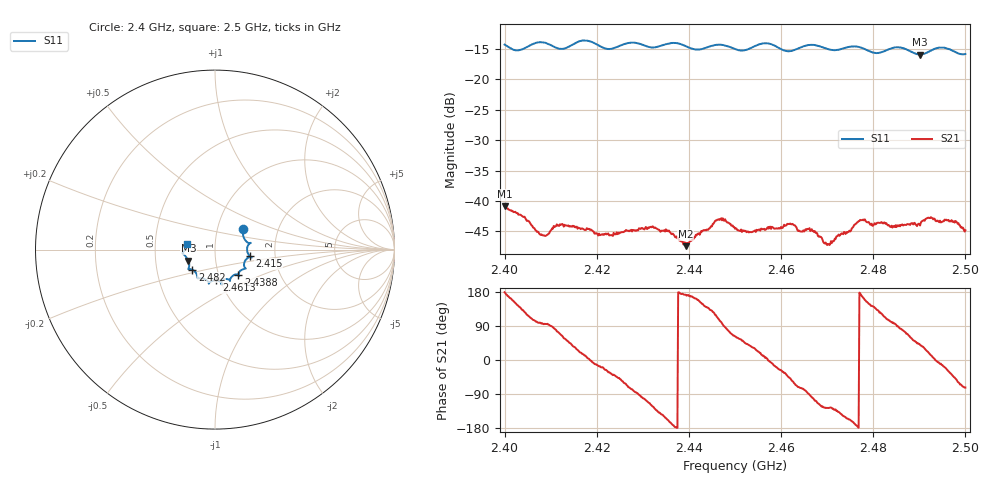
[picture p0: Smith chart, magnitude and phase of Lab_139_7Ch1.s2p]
# Hz S RI R 50
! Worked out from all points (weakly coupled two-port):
!   601 points, 2.4 GHz to 2.5 GHz, reference 50 ohm
!   highest |S21| = -40.91 dB at 2.4 GHz (marker M1); lowest = -47.5 dB at 2.4393 GHz (marker M2)
!   lowest |S11| = -15.9 dB at 2.4902 GHz (marker M3), VSWR 1.38, Z = 36.8 - j4.65 ohm
!   |S11| at or under -10 dB: start of sweep to end of sweep
!   S12 and S22 are empty: the file has one direction only
!   S11 on the Smith chart (normalised r, x): 2.4 GHz: 1.33, +0.31; 2.415 GHz: 1.47, -0.11; 2.4388 GHz: 1.24, -0.36; 2.4613 GHz: 0.96, -0.34; 2.482 GHz: 0.76, -0.17; 2.5 GHz: 0.72, +0.05
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2.4e9  0.1577 0.1125  -0.009 0.000193  0 0  0 0
2.402833e9  0.1608 0.0656  -0.00646 0.00461  0 0  0 0
2.408333e9  0.1988 0.0377  -0.000509 0.00517  0 0  0 0
2.411167e9  0.1818 0.0184  0.00114 0.0061  0 0  0 0
2.415e9  0.1928 -0.0359  0.00501 0.00357  0 0  0 0
2.416667e9  0.2039 -0.0441  0.00559 0.00191  0 0  0 0
2.4225e9  0.1657 -0.0658  0.00454 -0.00289  0 0  0 0
2.433333e9  0.1325 -0.1314  -0.00425 -0.00395  0 0  0 0
2.438833e9  0.1298 -0.141  -0.00433 0.000525  0 0  0 0
2.439333e9  0.1262 -0.1394  -0.00419 0.0006  0 0  0 0
2.4465e9  0.0839 -0.1745  -0.0021 0.00673  0 0  0 0
2.45e9  0.0684 -0.1645  0.00273 0.00523  0 0  0 0
2.456833e9  0.0384 -0.1948  0.00582 0.000479  0 0  0 0
2.461333e9  0.00799 -0.171  0.00483 -0.00429  0 0  0 0
2.466667e9  -0.0343 -0.1899  -0.00081 -0.00578  0 0  0 0
2.470167e9  -0.0447 -0.1723  -0.00261 -0.00355  0 0  0 0
2.477333e9  -0.0972 -0.1556  -0.00687 0.000917  0 0  0 0
2.482e9  -0.1262 -0.1118  -0.00326 0.00569  0 0  0 0
2.483333e9  -0.1398 -0.1089  -0.00161 0.00611  0 0  0 0
2.490167e9  -0.1484 -0.0615  0.00482 0.00401  0 0  0 0
2.496e9  -0.1797 -0.0168  0.00623 -0.00296  0 0  0 0
2.5e9  -0.1588 0.0329  0.00169 -0.00547  0 0  0 0
